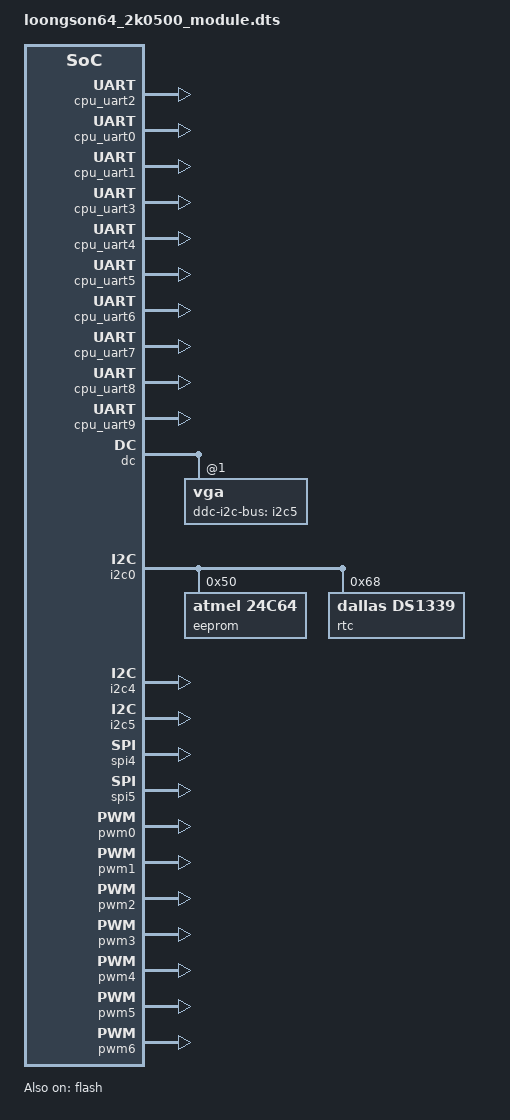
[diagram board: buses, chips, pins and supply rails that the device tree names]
#include "loongson64_2k0500.dtsi"


&cpu_uart2{
	status = "okay";
};

&cpu_uart0{
    	status = "okay";
};

&cpu_uart1{
    	status = "okay";
};

&cpu_uart3{
    	status = "okay";
};

&cpu_uart4{
    	status = "okay";
};

&cpu_uart5{
    	status = "okay";
};

&cpu_uart6{
    	status = "okay";
};

&cpu_uart7{
    	status = "okay";
};

&cpu_uart8{
    	status = "okay";
};

&cpu_uart9{
    	status = "okay";
};

&dc{
        vga: vga@1 {
                ddc-i2c-bus = <&i2c5>;
                status = "okay";
            };
};

&i2c0{
	status = "okay";
	eeprom@50{
		compatible = "atmel,24c64";
		reg = <0x50>;
		pagesize = <32>;
	};

	rtc@68{
		compatible = "dallas,ds1339";
		reg = <0x68>;
	};
};

&i2c4{
	status = "okay";
};

&i2c5{
	status = "okay";
};

&spi4{
	status = "okay";
};

&spi5{
	status = "okay";
};

&pwm0{
	status = "okay";
};

&pwm1{
	status = "okay";
};

&pwm2{
	status = "okay";
};

&pwm3{
	status = "okay";
};

&pwm4{
	status = "okay";
};

&pwm5{
	status = "okay";
};

&pwm6{
	status = "okay";
};

&flash{
	status = "okay";
};
